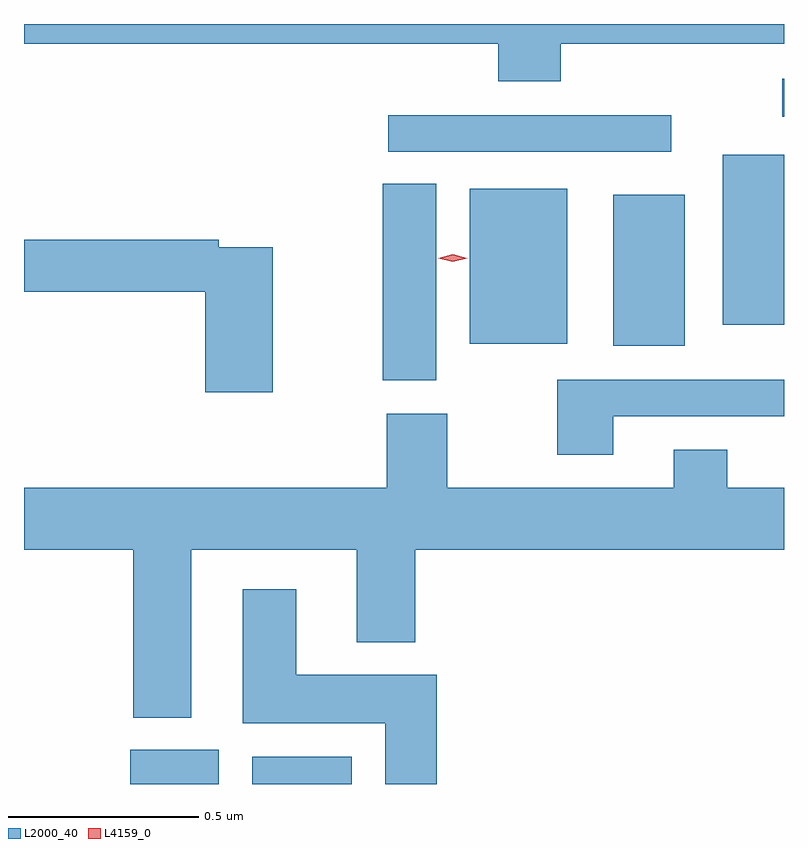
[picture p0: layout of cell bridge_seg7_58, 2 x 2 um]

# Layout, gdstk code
import gdstk
lib = gdstk.Library(unit=1e-6, precision=1e-09)
def R(c, l, rs):  # rectangles x0, y0, x1, y1
    for r in rs: c.add(gdstk.rectangle(r[:2], r[2:], *l))
def P(c, l, *ps):  # polygons
    for p in ps: c.add(gdstk.Polygon(p, *l))
L2000_40 = (2000, 40)
L4159_0 = (4159, 0)

bridge_seg7_58 = lib.new_cell('bridge_seg7_58')
R(bridge_seg7_58, L2000_40, [(949.238,1011.988,949.471,1012.078), (949.559,1011.988,949.822,1012.06), (949.903,1013.051,950.044,1013.567), (950.51,1013.141,950.698,1013.539), (950.132,1013.147,950.389,1013.554), (950.798,1013.196,950.959,1013.644), (949.917,1013.652,950.662,1013.748), (950.955,1013.744,950.959,1013.844)])
P(bridge_seg7_58, L2000_40, [(950.372,1013.936),(950.959,1013.936),(950.959,1013.988),(948.959,1013.988),(948.959,1013.936),(950.207,1013.936),(950.207,1013.837),(950.372,1013.837)],
  [(949.614,1013.4),(949.472,1013.4),(949.472,1013.42),(948.959,1013.42),(948.959,1013.284),(949.436,1013.284),(949.436,1013.019),(949.614,1013.019)],
  [(950.509,1012.956),(950.959,1012.956),(950.959,1013.052),(950.362,1013.052),(950.362,1012.854),(950.509,1012.854)],
  [(949.399,1012.604),(949.835,1012.604),(949.835,1012.361),(949.988,1012.361),(949.988,1012.604),(950.959,1012.604),(950.959,1012.768),(950.809,1012.768),(950.809,1012.867),(950.669,1012.867),(950.669,1012.768),(950.073,1012.768),(950.073,1012.963),(949.913,1012.963),(949.913,1012.768),(948.959,1012.768),(948.959,1012.604),(949.247,1012.604),(949.247,1012.163),(949.399,1012.163)],
  [(950.045,1012.276),(949.675,1012.276),(949.675,1012.501),(949.535,1012.501),(949.535,1012.148),(949.91,1012.148),(949.91,1011.988),(950.045,1011.988)])
P(bridge_seg7_58, L4159_0, [(950.087,1013.362),(950.049,1013.372),(950.049,1013.372),(950.049,1013.372),(950.087,1013.382),(950.125,1013.372),(950.125,1013.371),(950.125,1013.371)])

lib.write_gds('bridge_seg7_58.gds')
